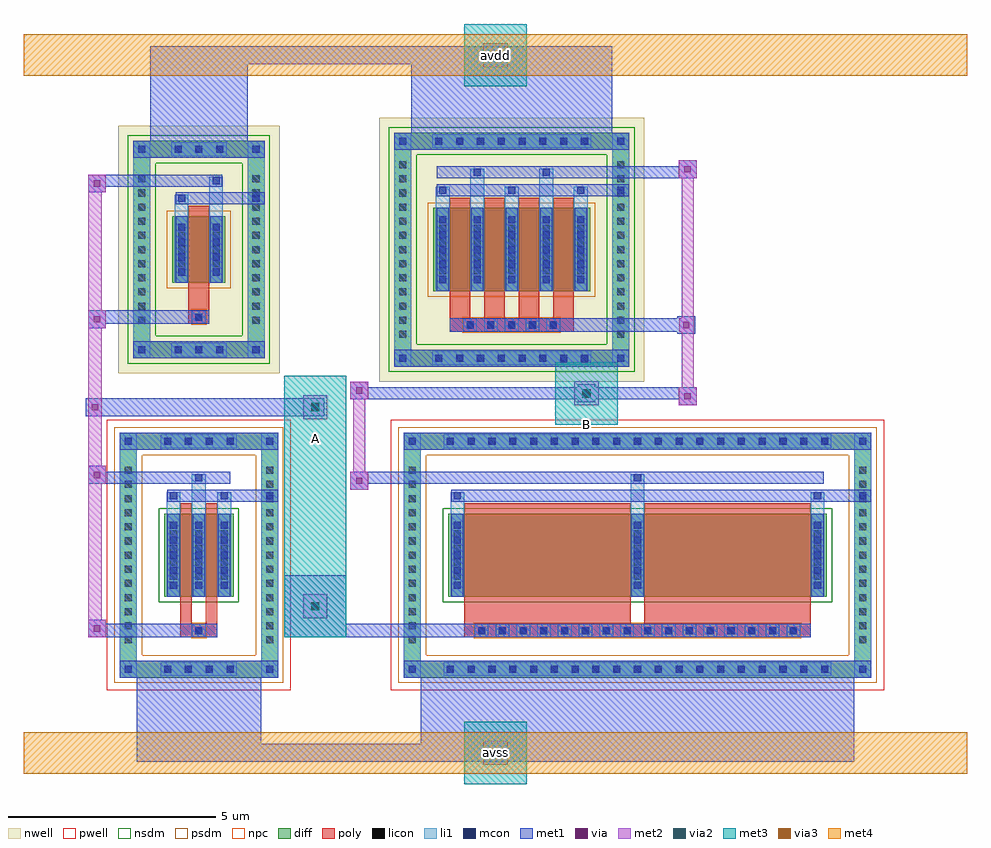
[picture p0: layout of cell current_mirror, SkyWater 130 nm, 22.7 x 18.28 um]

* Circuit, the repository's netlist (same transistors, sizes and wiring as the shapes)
** sch_path: /foss/designs/CapiMagics/sch/current_mirror/current_mirror.sch
.subckt current_mirror avdd avss B A
*.PININFO Avdd:B Avss:B B:B A:B
M1 A A Avss Avss sky130_fd_pr__nfet_01v8 L=0.28 W=4 nf=1
M2 B A Avss Avss sky130_fd_pr__nfet_01v8 L=4 W=4 nf=1
M3 B B Avdd Avdd sky130_fd_pr__pfet_01v8 L=0.5 W=8 nf=1
M4 A A Avdd Avdd sky130_fd_pr__pfet_01v8 L=0.5 W=1.6 nf=1
.ends

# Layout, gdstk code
import gdstk
lib = gdstk.Library(unit=1e-6, precision=5e-09)
def R(c, l, rs):  # rectangles x0, y0, x1, y1
    for r in rs: c.add(gdstk.rectangle(r[:2], r[2:], *l))
def A(c, l, x, y, w, h, nx, ny, dx, dy):  # array of equal rectangles
    R(c, l, [(x+i*dx, y+j*dy, x+i*dx+w, y+j*dy+h) for i in range(nx) for j in range(ny)])
def P(c, l, *ps):  # polygons
    for p in ps: c.add(gdstk.Polygon(p, *l))
nwell = (64, 20)
pwell = (64, 44)
diff = (65, 20)
poly = (66, 20)
licon = (66, 44)
li1 = (67, 20)
mcon = (67, 44)
met1 = (68, 20)
via = (68, 44)
met2 = (69, 20)
via2 = (69, 44)
met3 = (70, 20)
via3 = (70, 44)
met4 = (71, 20)
nsdm = (93, 44)
psdm = (94, 20)
npc = (95, 20)

c_m1 = lib.new_cell('M1')
R(c_m1, pwell, [(-2.215,-3.255,2.215,3.255)])
A(c_m1, diff, -0.955, -2.945, 0.41, 0.41, 4, 2, 0.5, 5.48)
A(c_m1, diff, -1.905, -2.245, 0.41, 0.41, 1, 13, 0, 0.34)
A(c_m1, diff, 1.495, -2.245, 0.41, 0.41, 1, 13, 0, 0.34)
R(c_m1, diff, [(-0.955,-2.945,0.955,-2.535), (-1.905,-2.245,-1.495,2.245), (1.495,-2.245,1.905,2.245), (-0.835,-1,0.835,1), (-0.955,2.535,0.955,2.945)])
P(c_m1, diff, [(1.905,2.945),(-1.905,2.945),(-1.905,-2.535),(-1.495,-2.535),(-1.495,2.535),(1.495,2.535),(1.495,-2.535),(-1.495,-2.535),(-1.905,-2.535),(-1.905,-2.945),(1.905,-2.945)])
R(c_m1, poly, [(-0.445,-1.98,0.445,-1.65), (-0.165,-1.98,0.165,-1.65), (-0.445,-1.65,-0.165,-1.25), (0.165,-1.65,0.445,-1.25), (-0.445,-1.25,-0.165,1.25), (0.165,-1.25,0.445,1.25)])
A(c_m1, licon, -0.835, -2.825, 0.17, 0.17, 4, 2, 0.5, 5.48)
A(c_m1, licon, -1.785, -2.125, 0.17, 0.17, 1, 13, 0, 0.34)
A(c_m1, licon, 1.615, -2.125, 0.17, 0.17, 1, 13, 0, 0.34)
A(c_m1, licon, -0.695, -0.595, 0.17, 0.17, 3, 4, 0.61, 0.34)
R(c_m1, licon, [(-0.085,-1.9,0.085,-1.73)])
A(c_m1, li1, -0.915, -2.905, 0.33, 0.33, 4, 2, 0.5, 5.48)
A(c_m1, li1, -1.865, -2.205, 0.33, 0.33, 1, 13, 0, 0.34)
A(c_m1, li1, 1.535, -2.205, 0.33, 0.33, 1, 13, 0, 0.34)
A(c_m1, li1, -0.775, -1, 0.33, 2, 3, 1, 0.61, 0)
A(c_m1, li1, -0.695, -0.805, 0.17, 0.17, 3, 5, 0.61, 0.36)
A(c_m1, li1, -0.695, -0.805, 0.17, 1.61, 3, 1, 0.61, 0)
A(c_m1, li1, -0.775, -0.675, 0.33, 0.33, 3, 4, 0.61, 0.34)
R(c_m1, li1, [(-1.905,-2.945,-1.495,-2.535), (1.495,-2.945,1.905,-2.535), (-0.915,-2.905,0.915,-2.575), (-1.785,-2.825,-1.615,-2.655), (-1.785,-2.825,-1.615,-2.655), (1.615,-2.825,1.785,-2.655), (1.615,-2.825,1.785,-2.655), (-1.905,-2.535,-1.495,2.535), (1.495,-2.535,1.905,2.535), (-0.165,-1.98,0.165,-1.65), (-0.775,1,-0.445,1.515), (-0.165,1,0.165,1.945), (0.445,1,0.775,1.515), (-0.695,1.345,-0.525,1.515), (0.525,1.345,0.695,1.515), (-0.085,1.775,0.085,1.945), (-1.905,2.535,-1.495,2.945), (1.495,2.535,1.905,2.945), (-0.915,2.575,0.915,2.905), (-1.785,2.655,-1.615,2.825), (-1.785,2.655,-1.615,2.825), (1.615,2.655,1.785,2.825), (1.615,2.655,1.785,2.825)])
A(c_m1, mcon, -0.835, -2.825, 0.17, 0.17, 4, 2, 0.5, 5.48)
A(c_m1, mcon, -0.695, -0.805, 0.17, 0.17, 3, 5, 0.61, 0.36)
R(c_m1, mcon, [(-1.785,-2.825,-1.615,-2.655), (1.615,-2.825,1.785,-2.655), (-0.085,-1.9,0.085,-1.73), (-0.695,1.345,-0.525,1.515), (0.525,1.345,0.695,1.515), (-0.085,1.775,0.085,1.945), (-1.785,2.655,-1.615,2.825), (1.615,2.655,1.785,2.825)])
A(c_m1, met1, -0.895, -2.885, 0.29, 0.29, 4, 2, 0.5, 5.48)
A(c_m1, met1, -0.755, -1, 0.29, 2, 3, 1, 0.61, 0)
A(c_m1, met1, -0.755, -0.865, 0.29, 0.29, 3, 5, 0.61, 0.36)
R(c_m1, met1, [(-1.905,-2.945,-1.495,-2.535), (-1.905,-2.945,-1.495,-2.535), (-1.495,-2.945,1.495,-2.535), (1.495,-2.945,1.905,-2.535), (1.495,-2.945,1.905,-2.535), (-1.845,-2.885,-1.555,-2.595), (1.555,-2.885,1.845,-2.595), (-0.445,-1.98,0.445,-1.65), (-0.145,-1.96,0.145,-1.67), (-0.755,1.285,-0.465,1.575), (-0.755,1.285,0.755,1.575), (0.465,1.285,0.755,1.575), (-0.755,1.715,0.755,2.005), (-0.145,1.715,0.145,2.005), (-1.905,2.535,-1.495,2.945), (-1.905,2.535,-1.495,2.945), (-1.495,2.535,1.495,2.945), (1.495,2.535,1.905,2.945), (1.495,2.535,1.905,2.945), (-1.845,2.595,-1.555,2.885), (1.555,2.595,1.845,2.885)])
R(c_m1, nsdm, [(-0.965,-1.13,0.965,1.13)])
P(c_m1, psdm, [(2.035,3.075),(-2.035,3.075),(-2.035,-2.405),(-1.365,-2.405),(-1.365,2.405),(1.365,2.405),(1.365,-2.405),(-1.365,-2.405),(-2.035,-2.405),(-2.035,-3.075),(2.035,-3.075)])
R(c_m1, npc, [(-0.185,-2,0.185,-1.63), (-0.185,-2,0.185,-1.63)])

c_m2 = lib.new_cell('M2')
R(c_m2, pwell, [(-5.935,-3.255,5.935,3.255)])
A(c_m2, diff, -4.705, -2.945, 0.41, 0.41, 19, 2, 0.5, 5.48)
A(c_m2, diff, -5.625, -2.245, 0.41, 0.41, 1, 13, 0, 0.34)
A(c_m2, diff, 5.215, -2.245, 0.41, 0.41, 1, 13, 0, 0.34)
R(c_m2, diff, [(-4.705,-2.945,4.705,-2.535), (-5.625,-2.245,-5.215,2.245), (5.215,-2.245,5.625,2.245), (-4.555,-1,4.555,1), (-4.705,2.535,4.705,2.945)])
P(c_m2, diff, [(5.625,2.945),(-5.625,2.945),(-5.625,-2.535),(-5.215,-2.535),(-5.215,2.535),(5.215,2.535),(5.215,-2.535),(-5.215,-2.535),(-5.625,-2.535),(-5.625,-2.945),(5.625,-2.945)])
A(c_m2, poly, -3.915, -1.98, 0.33, 0.33, 16, 1, 0.5, 0)
R(c_m2, poly, [(-4.165,-1.98,4.165,-1.65), (-4.165,-1.65,-0.165,-1.25), (0.165,-1.65,4.165,-1.25), (-4.165,-1.25,-0.165,1.25), (0.165,-1.25,4.165,1.25)])
A(c_m2, licon, -4.585, -2.825, 0.17, 0.17, 19, 2, 0.5, 5.48)
A(c_m2, licon, -5.505, -2.125, 0.17, 0.17, 1, 13, 0, 0.34)
A(c_m2, licon, 5.335, -2.125, 0.17, 0.17, 1, 13, 0, 0.34)
A(c_m2, licon, -3.835, -1.9, 0.17, 0.17, 16, 1, 0.5, 0)
A(c_m2, licon, -4.415, -0.595, 0.17, 0.17, 3, 4, 4.33, 0.34)
A(c_m2, li1, -4.665, -2.905, 0.33, 0.33, 19, 2, 0.5, 5.48)
A(c_m2, li1, -5.585, -2.205, 0.33, 0.33, 1, 13, 0, 0.34)
A(c_m2, li1, 5.255, -2.205, 0.33, 0.33, 1, 13, 0, 0.34)
A(c_m2, li1, -3.915, -1.98, 0.33, 0.33, 16, 1, 0.5, 0)
A(c_m2, li1, -4.495, -1, 0.33, 2, 3, 1, 4.33, 0)
A(c_m2, li1, -4.415, -0.805, 0.17, 0.17, 3, 5, 4.33, 0.36)
A(c_m2, li1, -4.415, -0.805, 0.17, 1.61, 3, 1, 4.33, 0)
A(c_m2, li1, -4.495, -0.675, 0.33, 0.33, 3, 4, 4.33, 0.34)
R(c_m2, li1, [(-5.625,-2.945,-5.215,-2.535), (5.215,-2.945,5.625,-2.535), (-4.665,-2.905,4.665,-2.575), (-5.505,-2.825,-5.335,-2.655), (-5.505,-2.825,-5.335,-2.655), (5.335,-2.825,5.505,-2.655), (5.335,-2.825,5.505,-2.655), (-5.625,-2.535,-5.215,2.535), (5.215,-2.535,5.625,2.535), (-4.495,1,-4.165,1.515), (-0.165,1,0.165,1.945), (4.165,1,4.495,1.515), (-4.415,1.345,-4.245,1.515), (4.245,1.345,4.415,1.515), (-0.085,1.775,0.085,1.945), (-5.625,2.535,-5.215,2.945), (5.215,2.535,5.625,2.945), (-4.665,2.575,4.665,2.905), (-5.505,2.655,-5.335,2.825), (-5.505,2.655,-5.335,2.825), (5.335,2.655,5.505,2.825), (5.335,2.655,5.505,2.825)])
A(c_m2, mcon, -4.585, -2.825, 0.17, 0.17, 19, 2, 0.5, 5.48)
A(c_m2, mcon, -3.835, -1.9, 0.17, 0.17, 16, 1, 0.5, 0)
A(c_m2, mcon, -4.415, -0.805, 0.17, 0.17, 3, 5, 4.33, 0.36)
R(c_m2, mcon, [(-5.505,-2.825,-5.335,-2.655), (5.335,-2.825,5.505,-2.655), (-4.415,1.345,-4.245,1.515), (4.245,1.345,4.415,1.515), (-0.085,1.775,0.085,1.945), (-5.505,2.655,-5.335,2.825), (5.335,2.655,5.505,2.825)])
A(c_m2, met1, -4.645, -2.885, 0.29, 0.29, 19, 2, 0.5, 5.48)
A(c_m2, met1, -3.895, -1.96, 0.29, 0.29, 16, 1, 0.5, 0)
A(c_m2, met1, -4.475, -1, 0.29, 2, 3, 1, 4.33, 0)
A(c_m2, met1, -4.475, -0.865, 0.29, 0.29, 3, 5, 4.33, 0.36)
R(c_m2, met1, [(-5.625,-2.945,-5.215,-2.535), (-5.625,-2.945,-5.215,-2.535), (-5.215,-2.945,5.215,-2.535), (5.215,-2.945,5.625,-2.535), (5.215,-2.945,5.625,-2.535), (-5.565,-2.885,-5.275,-2.595), (5.275,-2.885,5.565,-2.595), (-4.165,-1.98,4.165,-1.65), (-4.475,1.285,-4.185,1.575), (-4.475,1.285,4.475,1.575), (4.185,1.285,4.475,1.575), (-4.475,1.715,4.475,2.005), (-0.145,1.715,0.145,2.005), (-5.625,2.535,-5.215,2.945), (-5.625,2.535,-5.215,2.945), (-5.215,2.535,5.215,2.945), (5.215,2.535,5.625,2.945), (5.215,2.535,5.625,2.945), (-5.565,2.595,-5.275,2.885), (5.275,2.595,5.565,2.885)])
R(c_m2, nsdm, [(-4.685,-1.13,4.685,1.13)])
P(c_m2, psdm, [(5.755,3.075),(-5.755,3.075),(-5.755,-2.405),(-5.085,-2.405),(-5.085,2.405),(5.085,2.405),(5.085,-2.405),(-5.085,-2.405),(-5.755,-2.405),(-5.755,-3.075),(5.755,-3.075)])
A(c_m2, npc, -3.935, -2, 0.37, 0.37, 16, 1, 0.5, 0)
R(c_m2, npc, [(-3.935,-2,-3.065,-1.63), (-3.935,-2,-3.065,-1.63), (-3.435,-2,-2.565,-1.63), (-3.435,-2,-2.565,-1.63), (-2.935,-2,-2.065,-1.63), (-2.935,-2,-2.065,-1.63), (-2.435,-2,-1.565,-1.63), (-2.435,-2,-1.565,-1.63), (-1.935,-2,-1.065,-1.63), (-1.935,-2,-1.065,-1.63), (-1.435,-2,-0.565,-1.63), (-1.435,-2,-0.565,-1.63), (-0.935,-2,-0.065,-1.63), (-0.935,-2,-0.065,-1.63), (-0.435,-2,0.435,-1.63), (-0.435,-2,0.435,-1.63), (0.065,-2,0.935,-1.63), (0.065,-2,0.935,-1.63), (0.565,-2,1.435,-1.63), (0.565,-2,1.435,-1.63), (1.065,-2,1.935,-1.63), (1.065,-2,1.935,-1.63), (1.565,-2,2.435,-1.63), (1.565,-2,2.435,-1.63), (2.065,-2,2.935,-1.63), (2.065,-2,2.935,-1.63), (2.565,-2,3.435,-1.63), (2.565,-2,3.435,-1.63), (3.065,-2,3.935,-1.63), (3.065,-2,3.935,-1.63)])

c_m3 = lib.new_cell('M3')
R(c_m3, nwell, [(-3.185,-3.175,3.185,3.175), (-3.005,-2.995,3.005,2.995)])
A(c_m3, diff, -1.955, -2.815, 0.41, 0.41, 8, 2, 0.5, 5.22)
A(c_m3, diff, -2.825, -2.245, 0.41, 0.41, 1, 13, 0, 0.34)
A(c_m3, diff, 2.415, -2.245, 0.41, 0.41, 1, 13, 0, 0.34)
R(c_m3, diff, [(-1.955,-2.815,1.955,-2.405), (-2.825,-2.245,-2.415,2.245), (2.415,-2.245,2.825,2.245), (-1.885,-1,1.885,1), (-1.955,2.405,1.955,2.815)])
P(c_m3, diff, [(2.825,2.815),(-2.825,2.815),(-2.825,-2.405),(-2.415,-2.405),(-2.415,2.405),(2.415,2.405),(2.415,-2.405),(-2.415,-2.405),(-2.825,-2.405),(-2.825,-2.815),(2.825,-2.815)])
A(c_m3, poly, -1.165, -1.98, 0.33, 0.33, 5, 1, 0.5, 0)
A(c_m3, poly, -1.495, -1.65, 0.5, 0.4, 4, 1, 0.83, 0)
A(c_m3, poly, -1.495, -1.25, 0.5, 2.5, 4, 1, 0.83, 0)
R(c_m3, poly, [(-1.495,-1.98,1.495,-1.65)])
A(c_m3, licon, -1.835, -2.695, 0.17, 0.17, 8, 2, 0.5, 5.22)
A(c_m3, licon, -2.705, -2.125, 0.17, 0.17, 1, 13, 0, 0.34)
A(c_m3, licon, 2.535, -2.125, 0.17, 0.17, 1, 13, 0, 0.34)
A(c_m3, licon, -1.085, -1.9, 0.17, 0.17, 5, 1, 0.5, 0)
A(c_m3, licon, -1.745, -0.595, 0.17, 0.17, 5, 4, 0.83, 0.34)
A(c_m3, li1, -1.915, -2.775, 0.33, 0.33, 8, 2, 0.5, 5.22)
A(c_m3, li1, -2.785, -2.205, 0.33, 0.33, 1, 13, 0, 0.34)
A(c_m3, li1, 2.455, -2.205, 0.33, 0.33, 1, 13, 0, 0.34)
A(c_m3, li1, -1.165, -1.98, 0.33, 0.33, 5, 1, 0.5, 0)
A(c_m3, li1, -1.825, -1, 0.33, 2, 5, 1, 0.83, 0)
A(c_m3, li1, -1.745, -0.805, 0.17, 0.17, 5, 5, 0.83, 0.36)
A(c_m3, li1, -1.745, -0.805, 0.17, 1.61, 5, 1, 0.83, 0)
A(c_m3, li1, -1.825, -0.675, 0.33, 0.33, 5, 4, 0.83, 0.34)
A(c_m3, li1, -1.825, 1, 0.33, 0.515, 3, 1, 1.66, 0)
A(c_m3, li1, -1.745, 1.345, 0.17, 0.17, 3, 1, 1.66, 0)
R(c_m3, li1, [(-2.825,-2.815,-2.415,-2.405), (2.415,-2.815,2.825,-2.405), (-1.915,-2.775,1.915,-2.445), (-2.705,-2.695,-2.535,-2.525), (-2.705,-2.695,-2.535,-2.525), (2.535,-2.695,2.705,-2.525), (2.535,-2.695,2.705,-2.525), (-2.825,-2.405,-2.415,2.405), (2.415,-2.405,2.825,2.405), (-0.995,1,-0.665,1.945), (0.665,1,0.995,1.945), (-0.915,1.775,-0.745,1.945), (0.745,1.775,0.915,1.945), (-2.825,2.405,-2.415,2.815), (2.415,2.405,2.825,2.815), (-1.915,2.445,1.915,2.775), (-2.705,2.525,-2.535,2.695), (-2.705,2.525,-2.535,2.695), (2.535,2.525,2.705,2.695), (2.535,2.525,2.705,2.695)])
A(c_m3, mcon, -1.835, -2.695, 0.17, 0.17, 8, 2, 0.5, 5.22)
A(c_m3, mcon, -1.085, -1.9, 0.17, 0.17, 5, 1, 0.5, 0)
A(c_m3, mcon, -1.745, -0.805, 0.17, 0.17, 5, 5, 0.83, 0.36)
A(c_m3, mcon, -1.745, 1.345, 0.17, 0.17, 3, 1, 1.66, 0)
R(c_m3, mcon, [(-2.705,-2.695,-2.535,-2.525), (2.535,-2.695,2.705,-2.525), (-0.915,1.775,-0.745,1.945), (0.745,1.775,0.915,1.945), (-2.705,2.525,-2.535,2.695), (2.535,2.525,2.705,2.695)])
A(c_m3, met1, -1.895, -2.755, 0.29, 0.29, 8, 2, 0.5, 5.22)
A(c_m3, met1, -1.145, -1.96, 0.29, 0.29, 5, 1, 0.5, 0)
A(c_m3, met1, -1.805, -1, 0.29, 2, 5, 1, 0.83, 0)
A(c_m3, met1, -1.805, -0.865, 0.29, 0.29, 5, 5, 0.83, 0.36)
A(c_m3, met1, -1.805, 1.285, 0.29, 0.29, 3, 1, 1.66, 0)
R(c_m3, met1, [(-2.825,-2.815,-2.415,-2.405), (-2.825,-2.815,-2.415,-2.405), (-2.415,-2.815,2.415,-2.405), (2.415,-2.815,2.825,-2.405), (2.415,-2.815,2.825,-2.405), (-2.765,-2.755,-2.475,-2.465), (2.475,-2.755,2.765,-2.465), (-1.495,-1.98,1.495,-1.65), (-1.805,1.285,1.805,1.575), (-1.805,1.715,1.805,2.005), (-0.975,1.715,-0.685,2.005), (0.685,1.715,0.975,2.005), (-2.825,2.405,-2.415,2.815), (-2.825,2.405,-2.415,2.815), (-2.415,2.405,2.415,2.815), (2.415,2.405,2.825,2.815), (2.415,2.405,2.825,2.815), (-2.765,2.465,-2.475,2.755), (2.475,2.465,2.765,2.755)])
P(c_m3, nsdm, [(2.955,2.945),(-2.955,2.945),(-2.955,-2.275),(-2.285,-2.275),(-2.285,2.275),(2.285,2.275),(2.285,-2.275),(-2.285,-2.275),(-2.955,-2.275),(-2.955,-2.945),(2.955,-2.945)])
R(c_m3, psdm, [(-2.015,-1.13,2.015,1.13)])
A(c_m3, npc, -1.185, -2, 0.37, 0.37, 5, 1, 0.5, 0)
R(c_m3, npc, [(-1.185,-2,-0.315,-1.63), (-1.185,-2,-0.315,-1.63), (-0.685,-2,0.185,-1.63), (-0.685,-2,0.185,-1.63), (-0.185,-2,0.685,-1.63), (-0.185,-2,0.685,-1.63), (0.315,-2,1.185,-1.63), (0.315,-2,1.185,-1.63)])

c_m4 = lib.new_cell('M4')
R(c_m4, nwell, [(-1.94,-2.975,1.94,2.975), (-1.76,-2.795,1.76,2.795)])
A(c_m4, diff, -0.705, -2.615, 0.41, 0.41, 3, 2, 0.5, 4.82)
A(c_m4, diff, -1.58, -1.905, 0.41, 0.41, 1, 11, 0, 0.34)
A(c_m4, diff, 1.17, -1.905, 0.41, 0.41, 1, 11, 0, 0.34)
R(c_m4, diff, [(-0.705,-2.615,0.705,-2.205), (-1.58,-1.905,-1.17,1.905), (1.17,-1.905,1.58,1.905), (-0.64,-0.8,0.64,0.8), (-0.705,2.205,0.705,2.615)])
P(c_m4, diff, [(1.58,2.615),(-1.58,2.615),(-1.58,-2.205),(-1.17,-2.205),(-1.17,2.205),(1.17,2.205),(1.17,-2.205),(-1.17,-2.205),(-1.58,-2.205),(-1.58,-2.615),(1.58,-2.615)])
R(c_m4, poly, [(-0.25,-1.79,0.25,-1.46), (-0.165,-1.79,0.165,-1.46), (-0.25,-1.46,0.25,-1.05), (-0.25,-1.05,0.25,1.05)])
A(c_m4, licon, -0.585, -2.495, 0.17, 0.17, 3, 2, 0.5, 4.82)
A(c_m4, licon, -1.46, -1.785, 0.17, 0.17, 1, 11, 0, 0.34)
A(c_m4, licon, 1.29, -1.785, 0.17, 0.17, 1, 11, 0, 0.34)
A(c_m4, licon, -0.5, -0.425, 0.17, 0.17, 1, 3, 0, 0.34)
A(c_m4, licon, 0.33, -0.425, 0.17, 0.17, 1, 3, 0, 0.34)
R(c_m4, licon, [(-0.085,-1.71,0.085,-1.54)])
A(c_m4, li1, -0.665, -2.575, 0.33, 0.33, 3, 2, 0.5, 4.82)
A(c_m4, li1, -1.54, -1.865, 0.33, 0.33, 1, 11, 0, 0.34)
A(c_m4, li1, 1.21, -1.865, 0.33, 0.33, 1, 11, 0, 0.34)
A(c_m4, li1, -0.5, -0.625, 0.17, 0.17, 1, 4, 0, 0.36)
A(c_m4, li1, 0.33, -0.625, 0.17, 0.17, 1, 4, 0, 0.36)
A(c_m4, li1, -0.58, -0.505, 0.33, 0.33, 1, 3, 0, 0.34)
A(c_m4, li1, 0.25, -0.505, 0.33, 0.33, 1, 3, 0, 0.34)
R(c_m4, li1, [(-1.58,-2.615,-1.17,-2.205), (1.17,-2.615,1.58,-2.205), (-0.665,-2.575,0.665,-2.245), (-1.46,-2.495,-1.29,-2.325), (-1.46,-2.495,-1.29,-2.325), (1.29,-2.495,1.46,-2.325), (1.29,-2.495,1.46,-2.325), (-1.58,-2.205,-1.17,2.205), (1.17,-2.205,1.58,2.205), (-0.165,-1.79,0.165,-1.46), (-0.58,-0.8,-0.25,0.8), (0.25,-0.8,0.58,0.8), (-0.5,-0.625,-0.33,0.625), (0.33,-0.625,0.5,0.625), (-0.58,0.8,-0.25,1.315), (0.25,0.8,0.58,1.745), (-0.5,1.145,-0.33,1.315), (0.33,1.575,0.5,1.745), (-1.58,2.205,-1.17,2.615), (1.17,2.205,1.58,2.615), (-0.665,2.245,0.665,2.575), (-1.46,2.325,-1.29,2.495), (-1.46,2.325,-1.29,2.495), (1.29,2.325,1.46,2.495), (1.29,2.325,1.46,2.495)])
A(c_m4, mcon, -0.585, -2.495, 0.17, 0.17, 3, 2, 0.5, 4.82)
A(c_m4, mcon, -0.5, -0.625, 0.17, 0.17, 1, 4, 0, 0.36)
A(c_m4, mcon, 0.33, -0.625, 0.17, 0.17, 1, 4, 0, 0.36)
R(c_m4, mcon, [(-1.46,-2.495,-1.29,-2.325), (1.29,-2.495,1.46,-2.325), (-0.085,-1.71,0.085,-1.54), (-0.5,1.145,-0.33,1.315), (0.33,1.575,0.5,1.745), (-1.46,2.325,-1.29,2.495), (1.29,2.325,1.46,2.495)])
A(c_m4, met1, -0.645, -2.555, 0.29, 0.29, 3, 2, 0.5, 4.82)
A(c_m4, met1, -0.56, -0.685, 0.29, 0.29, 1, 4, 0, 0.36)
A(c_m4, met1, 0.27, -0.685, 0.29, 0.29, 1, 4, 0, 0.36)
R(c_m4, met1, [(-1.58,-2.615,-1.17,-2.205), (-1.58,-2.615,-1.17,-2.205), (-1.17,-2.615,1.17,-2.205), (1.17,-2.615,1.58,-2.205), (1.17,-2.615,1.58,-2.205), (-1.52,-2.555,-1.23,-2.265), (1.23,-2.555,1.52,-2.265), (-0.25,-1.79,0.25,-1.46), (-0.145,-1.77,0.145,-1.48), (-0.56,-0.8,-0.27,0.8), (0.27,-0.8,0.56,0.8), (-0.56,1.085,-0.27,1.375), (-0.56,1.085,0.56,1.375), (-0.56,1.515,0.56,1.805), (0.27,1.515,0.56,1.805), (-1.58,2.205,-1.17,2.615), (-1.58,2.205,-1.17,2.615), (-1.17,2.205,1.17,2.615), (1.17,2.205,1.58,2.615), (1.17,2.205,1.58,2.615), (-1.52,2.265,-1.23,2.555), (1.23,2.265,1.52,2.555)])
P(c_m4, nsdm, [(1.71,2.745),(-1.71,2.745),(-1.71,-2.075),(-1.04,-2.075),(-1.04,2.075),(1.04,2.075),(1.04,-2.075),(-1.04,-2.075),(-1.71,-2.075),(-1.71,-2.745),(1.71,-2.745)])
R(c_m4, psdm, [(-0.77,-0.93,0.77,0.93)])
R(c_m4, npc, [(-0.185,-1.81,0.185,-1.44), (-0.185,-1.81,0.185,-1.44)])

compass_a6a7948e = lib.new_cell('compass_a6a7948e')
R(compass_a6a7948e, met4, [(-11.35,-0.5,11.35,0.5)])

rectangle_a6a7948e = lib.new_cell('rectangle_a6a7948e')
rectangle_a6a7948e.add(gdstk.Reference(compass_a6a7948e, (11.35,0.5)))

compass_a6a7948e_1 = lib.new_cell('compass_a6a7948e$1')
R(compass_a6a7948e_1, met4, [(-11.35,-0.5,11.35,0.5)])

rectangle_a6a7948e_1 = lib.new_cell('rectangle_a6a7948e$1')
rectangle_a6a7948e_1.add(gdstk.Reference(compass_a6a7948e_1, (11.35,0.5)))

via_stack_327ebae8 = lib.new_cell('via_stack_327ebae8')
R(via_stack_327ebae8, met1, [(-0.215,-0.215,0.215,0.215)])
R(via_stack_327ebae8, via, [(-0.075,-0.075,0.075,0.075)])
R(via_stack_327ebae8, met2, [(-0.29,-0.29,0.29,0.29)])
R(via_stack_327ebae8, via2, [(-0.1,-0.1,0.1,0.1)])
R(via_stack_327ebae8, met3, [(-0.75,-0.75,0.75,0.75)])
R(via_stack_327ebae8, via3, [(-0.1,-0.1,0.1,0.1)])
R(via_stack_327ebae8, met4, [(-0.17,-0.17,0.17,0.17)])

via_stack_cebb057a = lib.new_cell('via_stack_cebb057a')
R(via_stack_cebb057a, met1, [(-0.215,-0.215,0.215,0.215)])
R(via_stack_cebb057a, via, [(-0.075,-0.075,0.075,0.075)])
R(via_stack_cebb057a, met2, [(-0.29,-0.29,0.29,0.29)])
R(via_stack_cebb057a, via2, [(-0.1,-0.1,0.1,0.1)])
R(via_stack_cebb057a, met3, [(-0.75,-0.75,0.75,0.75)])

via_stack_bd94b783 = lib.new_cell('via_stack_bd94b783')
R(via_stack_bd94b783, met1, [(-0.215,-0.215,0.215,0.215)])
R(via_stack_bd94b783, via, [(-0.075,-0.075,0.075,0.075)])
R(via_stack_bd94b783, met2, [(-0.165,-0.165,0.165,0.165)])

l_route_49103a41 = lib.new_cell('L_route_49103a41')
R(l_route_49103a41, met1, [(3.045,15.47,5.385,17.745), (3.045,17.315,11.135,17.745)])

l_route_880d3634 = lib.new_cell('L_route_880d3634')
R(l_route_880d3634, met1, [(9.325,15.67,14.155,17.745), (11.135,17.315,14.155,17.745)])

l_route_5bab8090 = lib.new_cell('L_route_5bab8090')
R(l_route_5bab8090, met1, [(2.72,0.535,11.135,0.965), (2.72,0.535,5.71,2.56)])

l_route_c18bd5a5 = lib.new_cell('L_route_c18bd5a5')
R(l_route_c18bd5a5, met1, [(9.55,0.535,19.98,2.56), (11.135,0.535,19.98,0.965)])

l_route_79701bd5 = lib.new_cell('L_route_79701bd5')
R(l_route_79701bd5, li1, [(5.385,13.94,5.795,15.06), (5.505,14,5.675,14.17), (5.505,14,5.675,14.17)])
R(l_route_79701bd5, mcon, [(5.505,14,5.675,14.17)])
R(l_route_79701bd5, met1, [(4.775,13.94,5.795,14.23), (5.385,13.94,5.795,14.23), (5.445,13.94,5.735,14.23)])

l_route_e09c0bd2 = lib.new_cell('L_route_e09c0bd2')
R(l_route_e09c0bd2, li1, [(14.155,14.14,14.565,15.26), (14.275,14.2,14.445,14.37), (14.275,14.2,14.445,14.37)])
R(l_route_e09c0bd2, mcon, [(14.275,14.2,14.445,14.37)])
R(l_route_e09c0bd2, met1, [(13.545,14.14,14.565,14.43), (14.155,14.14,14.565,14.43), (14.215,14.14,14.505,14.43)])

l_route_981217c1 = lib.new_cell('L_route_981217c1')
R(l_route_981217c1, li1, [(5.71,6.79,6.12,8.04), (5.83,6.85,6,7.02), (5.83,6.85,6,7.02)])
R(l_route_981217c1, mcon, [(5.83,6.85,6,7.02)])
R(l_route_981217c1, met1, [(4.97,6.79,6.12,7.08), (5.71,6.79,6.12,7.08), (5.77,6.79,6.06,7.08)])

l_route_9fcde084 = lib.new_cell('L_route_9fcde084')
R(l_route_9fcde084, li1, [(19.98,6.79,20.39,8.04), (20.1,6.85,20.27,7.02), (20.1,6.85,20.27,7.02)])
R(l_route_9fcde084, mcon, [(20.1,6.85,20.27,7.02)])
R(l_route_9fcde084, met1, [(19.24,6.79,20.39,7.08), (19.98,6.79,20.39,7.08), (20.04,6.79,20.33,7.08)])

l_route_c9399605 = lib.new_cell('L_route_c9399605')
R(l_route_c9399605, met1, [(1.55,14.23,1.98,14.66), (1.55,14.23,1.98,14.66), (1.55,14.37,3.655,14.66)])
R(l_route_c9399605, via, [(1.69,14.37,1.84,14.52)])
R(l_route_c9399605, met2, [(1.55,9.23,1.88,14.66), (1.55,14.23,1.98,14.66), (1.6,14.28,1.93,14.61)])

l_route_2a5540ed = lib.new_cell('L_route_2a5540ed')
R(l_route_2a5540ed, met1, [(1.55,7.22,3.46,7.51), (1.55,7.22,1.98,7.65), (1.55,7.22,1.98,7.65)])
R(l_route_2a5540ed, via, [(1.69,7.36,1.84,7.51)])
R(l_route_2a5540ed, met2, [(1.55,7.22,1.98,7.65), (1.55,7.22,1.88,8.9), (1.6,7.27,1.93,7.6)])

l_route_948229df = lib.new_cell('L_route_948229df')
R(l_route_948229df, met1, [(1.55,10.965,1.98,11.395), (1.55,10.965,1.98,11.395), (1.55,11.065,3.965,11.395)])
R(l_route_948229df, via, [(1.69,11.105,1.84,11.255)])
R(l_route_948229df, met2, [(1.55,9.23,1.88,11.395), (1.55,10.965,1.98,11.395), (1.6,11.015,1.93,11.345)])

l_route_2fc0d58c = lib.new_cell('L_route_2fc0d58c')
R(l_route_2fc0d58c, met1, [(1.55,3.525,3.77,3.855), (1.55,3.525,1.98,3.955), (1.55,3.525,1.98,3.955)])
R(l_route_2fc0d58c, via, [(1.69,3.665,1.84,3.815)])
R(l_route_2fc0d58c, met2, [(1.55,3.525,1.98,3.955), (1.55,3.525,1.88,8.9), (1.6,3.575,1.93,3.905)])

straight_route_31a6f2cf = lib.new_cell('straight_route_31a6f2cf')
R(straight_route_31a6f2cf, met1, [(1.5,8.85,7.23,9.28)])

l_route_582dd3d0 = lib.new_cell('L_route_582dd3d0')
R(l_route_582dd3d0, met1, [(6.265,3.525,10.6,3.855), (6.265,3.525,7.765,5.025), (6.8,4.06,7.23,4.49)])
R(l_route_582dd3d0, via, [(6.94,4.2,7.09,4.35)])
R(l_route_582dd3d0, met2, [(6.725,3.985,7.305,4.565)])
R(l_route_582dd3d0, via2, [(6.915,4.175,7.115,4.375)])
R(l_route_582dd3d0, met3, [(6.265,3.525,7.765,5.025), (6.265,3.525,7.765,5.025), (6.265,3.525,7.765,8.315)])

c_route_b1dc4ff1 = lib.new_cell('c_route_b1dc4ff1')
R(c_route_b1dc4ff1, met1, [(15.755,9.11,16.185,9.54), (13.755,9.25,16.185,9.54), (13.545,14.57,16.185,14.86), (15.755,14.57,16.185,15)])
R(c_route_b1dc4ff1, via, [(15.895,9.25,16.045,9.4), (15.895,14.71,16.045,14.86)])
R(c_route_b1dc4ff1, met2, [(15.755,9.11,16.185,9.54), (15.825,9.11,16.115,15), (16.115,9.11,16.185,9.54), (15.805,9.16,16.135,9.49), (15.755,14.57,16.185,15), (16.115,14.57,16.185,15), (15.805,14.62,16.135,14.95)])

straight_route_bd8d4019 = lib.new_cell('straight_route_bd8d4019')
R(straight_route_bd8d4019, met1, [(13.235,10.875,15.72,11.205)])

c_route_bed4ff60 = lib.new_cell('c_route_bed4ff60')
R(c_route_bed4ff60, met1, [(7.86,7.08,8.29,7.51), (7.86,7.22,10.29,7.51), (7.86,9.25,8.29,9.68), (7.86,9.25,13.325,9.54)])
R(c_route_bed4ff60, via, [(8,7.22,8.15,7.37), (8,9.39,8.15,9.54)])
R(c_route_bed4ff60, met2, [(7.86,7.08,8.29,7.51), (7.93,7.08,8.22,9.68), (8.22,7.08,8.29,7.51), (7.91,7.13,8.24,7.46), (7.86,9.25,8.29,9.68), (8.22,9.25,8.29,9.68), (7.91,9.3,8.24,9.63)])

current_mirror = lib.new_cell('current_mirror')
current_mirror.add(gdstk.Reference(c_m1, (4.215,5.505)))
current_mirror.add(gdstk.Reference(c_m2, (14.765,5.505)))
current_mirror.add(gdstk.Reference(c_m3, (11.74,12.855)))
current_mirror.add(gdstk.Reference(c_m4, (4.215,12.855)))
current_mirror.add(gdstk.Reference(rectangle_a6a7948e, (0,17.03)))
current_mirror.add(gdstk.Reference(rectangle_a6a7948e_1, (0,0.25)))
current_mirror.add(gdstk.Reference(via_stack_327ebae8, (11.35,17.53)))
current_mirror.add(gdstk.Reference(via_stack_327ebae8, (11.35,0.75)))
current_mirror.add(gdstk.Reference(via_stack_cebb057a, (7.015,9.065)))
current_mirror.add(gdstk.Reference(via_stack_bd94b783, (1.715,9.065)))
current_mirror.add(gdstk.Reference(via_stack_cebb057a, (13.54,9.395)))
current_mirror.add(gdstk.Reference(via_stack_bd94b783, (15.935,11.04)))
current_mirror.add(gdstk.Reference(l_route_49103a41, (0,0)))
current_mirror.add(gdstk.Reference(l_route_880d3634, (0,0)))
current_mirror.add(gdstk.Reference(l_route_5bab8090, (0,0)))
current_mirror.add(gdstk.Reference(l_route_c18bd5a5, (0,0)))
current_mirror.add(gdstk.Reference(l_route_79701bd5, (0,0)))
current_mirror.add(gdstk.Reference(l_route_e09c0bd2, (0,0)))
current_mirror.add(gdstk.Reference(l_route_981217c1, (0,0)))
current_mirror.add(gdstk.Reference(l_route_9fcde084, (0,0)))
current_mirror.add(gdstk.Reference(l_route_c9399605, (0,0)))
current_mirror.add(gdstk.Reference(l_route_2a5540ed, (0,0)))
current_mirror.add(gdstk.Reference(l_route_948229df, (0,0)))
current_mirror.add(gdstk.Reference(l_route_2fc0d58c, (0,0)))
current_mirror.add(gdstk.Reference(straight_route_31a6f2cf, (0,0)))
current_mirror.add(gdstk.Reference(l_route_582dd3d0, (0,0)))
current_mirror.add(gdstk.Reference(c_route_b1dc4ff1, (0,0)))
current_mirror.add(gdstk.Reference(straight_route_bd8d4019, (0,0)))
current_mirror.add(gdstk.Reference(c_route_bed4ff60, (0,0)))
current_mirror.add(gdstk.Label('avss', (11.35,0.75), layer=71, texttype=5))
current_mirror.add(gdstk.Label('avdd', (11.35,17.53), layer=71, texttype=5))
current_mirror.add(gdstk.Label('A', (7.015,8.315), layer=70, texttype=5))
current_mirror.add(gdstk.Label('B', (13.54,8.645), layer=70, texttype=5))

lib.write_gds('current_mirror.gds')
